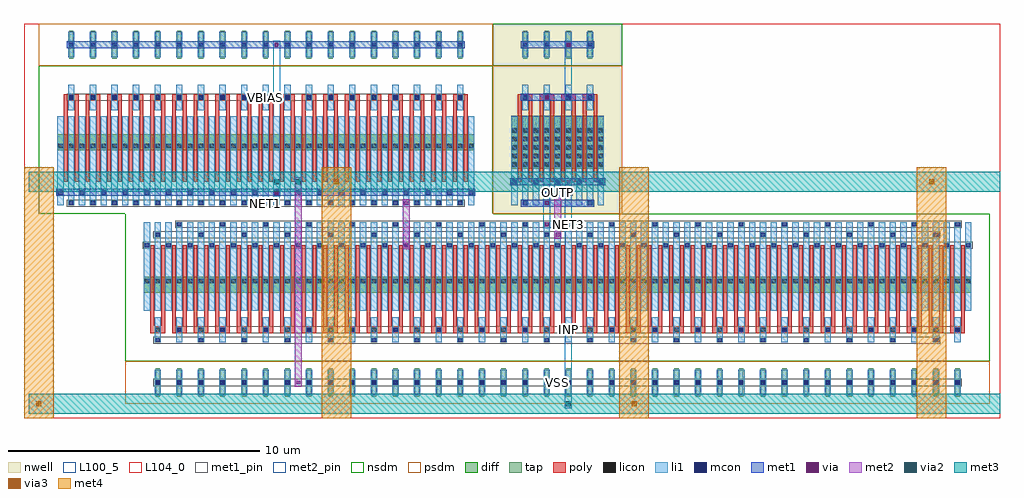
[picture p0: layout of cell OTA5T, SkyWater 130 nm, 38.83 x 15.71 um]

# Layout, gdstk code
import gdstk
lib = gdstk.Library(unit=1e-6, precision=1e-09)
def R(c, l, rs):  # rectangles x0, y0, x1, y1
    for r in rs: c.add(gdstk.rectangle(r[:2], r[2:], *l))
def A(c, l, x, y, w, h, nx, ny, dx, dy):  # array of equal rectangles
    R(c, l, [(x+i*dx, y+j*dy, x+i*dx+w, y+j*dy+h) for i in range(nx) for j in range(ny)])
nwell = (64, 20)
diff = (65, 20)
tap = (65, 44)
poly = (66, 20)
licon = (66, 44)
li1 = (67, 20)
mcon = (67, 44)
met1_pin = (68, 16)
met1 = (68, 20)
via = (68, 44)
met2_pin = (69, 16)
met2 = (69, 20)
via2 = (69, 44)
met3 = (70, 20)
via3 = (70, 44)
met4 = (71, 20)
nsdm = (93, 44)
psdm = (94, 20)
L100_5 = (100, 5)
L104_0 = (104, 0)

ota5t = lib.new_cell('OTA5T')
R(ota5t, nwell, [(18.06,7.56,23.22,15.12)])
R(ota5t, diff, [(4.175,4.41,37.105,5.04), (18.795,9.345,22.485,11.445), (0.735,10.08,17.325,10.71)])
A(ota5t, tap, 4.645, 0.28, 0.17, 1.12, 38, 1, 0.86, 0)
A(ota5t, tap, 1.205, 13.72, 0.17, 1.12, 19, 1, 0.86, 0)
A(ota5t, tap, 19.265, 13.72, 0.17, 1.12, 4, 1, 0.86, 0)
A(ota5t, poly, 4.44, 2.805, 0.58, 0.27, 38, 1, 0.86, 0)
A(ota5t, poly, 4.44, 2.94, 0.15, 3.36, 76, 1, 0.43, 0)
A(ota5t, poly, 1, 8.82, 0.15, 3.36, 38, 1, 0.43, 0)
A(ota5t, poly, 19.06, 8.82, 0.15, 3.36, 8, 1, 0.43, 0)
A(ota5t, poly, 1, 12.045, 0.58, 0.27, 19, 1, 0.86, 0)
A(ota5t, poly, 19.06, 12.045, 0.58, 0.27, 4, 1, 0.86, 0)
A(ota5t, licon, 4.645, 0.755, 0.17, 0.17, 38, 2, 0.86, 2.1)
A(ota5t, licon, 4.215, 4.79, 0.17, 0.17, 3, 2, 0.43, 5.37)
A(ota5t, licon, 5.075, 4.79, 0.17, 0.17, 3, 2, 0.43, 5.37)
A(ota5t, licon, 5.935, 4.79, 0.17, 0.17, 3, 2, 0.43, 5.37)
A(ota5t, licon, 6.795, 4.79, 0.17, 0.17, 3, 2, 0.43, 5.37)
A(ota5t, licon, 7.655, 4.79, 0.17, 0.17, 3, 2, 0.43, 5.37)
A(ota5t, licon, 8.515, 4.79, 0.17, 0.17, 3, 2, 0.43, 5.37)
A(ota5t, licon, 9.375, 4.79, 0.17, 0.17, 3, 2, 0.43, 5.37)
A(ota5t, licon, 10.235, 4.79, 0.17, 0.17, 3, 2, 0.43, 5.37)
A(ota5t, licon, 11.095, 4.79, 0.17, 0.17, 3, 2, 0.43, 5.37)
A(ota5t, licon, 11.955, 4.79, 0.17, 0.17, 3, 2, 0.43, 5.37)
A(ota5t, licon, 12.815, 4.79, 0.17, 0.17, 3, 2, 0.43, 5.37)
A(ota5t, licon, 13.675, 4.79, 0.17, 0.17, 3, 2, 0.43, 5.37)
A(ota5t, licon, 14.535, 4.79, 0.17, 0.17, 3, 2, 0.43, 5.37)
A(ota5t, licon, 15.395, 4.79, 0.17, 0.17, 3, 2, 0.43, 5.37)
A(ota5t, licon, 16.255, 4.79, 0.17, 0.17, 3, 2, 0.43, 5.37)
A(ota5t, licon, 17.115, 4.79, 0.17, 0.17, 3, 1, 0.43, 0)
A(ota5t, licon, 17.975, 4.79, 0.17, 0.17, 3, 1, 0.43, 0)
A(ota5t, licon, 18.835, 4.79, 0.17, 0.17, 3, 2, 0.43, 4.635)
A(ota5t, licon, 19.695, 4.79, 0.17, 0.17, 3, 2, 0.43, 4.635)
A(ota5t, licon, 20.555, 4.79, 0.17, 0.17, 3, 2, 0.43, 4.635)
A(ota5t, licon, 21.415, 4.79, 0.17, 0.17, 3, 2, 0.43, 4.635)
A(ota5t, licon, 22.275, 4.79, 0.17, 0.17, 3, 1, 0.43, 0)
A(ota5t, licon, 23.135, 4.79, 0.17, 0.17, 3, 1, 0.43, 0)
A(ota5t, licon, 23.995, 4.79, 0.17, 0.17, 3, 1, 0.43, 0)
A(ota5t, licon, 24.855, 4.79, 0.17, 0.17, 3, 1, 0.43, 0)
A(ota5t, licon, 25.715, 4.79, 0.17, 0.17, 3, 1, 0.43, 0)
A(ota5t, licon, 26.575, 4.79, 0.17, 0.17, 3, 1, 0.43, 0)
A(ota5t, licon, 27.435, 4.79, 0.17, 0.17, 3, 1, 0.43, 0)
A(ota5t, licon, 28.295, 4.79, 0.17, 0.17, 3, 1, 0.43, 0)
A(ota5t, licon, 29.155, 4.79, 0.17, 0.17, 3, 1, 0.43, 0)
A(ota5t, licon, 30.015, 4.79, 0.17, 0.17, 3, 1, 0.43, 0)
A(ota5t, licon, 30.875, 4.79, 0.17, 0.17, 3, 1, 0.43, 0)
A(ota5t, licon, 31.735, 4.79, 0.17, 0.17, 3, 1, 0.43, 0)
A(ota5t, licon, 32.595, 4.79, 0.17, 0.17, 3, 1, 0.43, 0)
A(ota5t, licon, 33.455, 4.79, 0.17, 0.17, 3, 1, 0.43, 0)
A(ota5t, licon, 34.315, 4.79, 0.17, 0.17, 3, 1, 0.43, 0)
A(ota5t, licon, 35.175, 4.79, 0.17, 0.17, 3, 1, 0.43, 0)
A(ota5t, licon, 36.035, 4.79, 0.17, 0.17, 3, 1, 0.43, 0)
A(ota5t, licon, 18.835, 9.765, 0.17, 0.17, 3, 4, 0.43, 0.34)
A(ota5t, licon, 19.695, 9.765, 0.17, 0.17, 3, 4, 0.43, 0.34)
A(ota5t, licon, 20.555, 9.765, 0.17, 0.17, 3, 4, 0.43, 0.34)
A(ota5t, licon, 21.415, 9.765, 0.17, 0.17, 3, 4, 0.43, 0.34)
A(ota5t, licon, 0.775, 10.16, 0.17, 0.17, 3, 1, 0.43, 0)
A(ota5t, licon, 1.635, 10.16, 0.17, 0.17, 3, 1, 0.43, 0)
A(ota5t, licon, 2.495, 10.16, 0.17, 0.17, 3, 1, 0.43, 0)
A(ota5t, licon, 3.355, 10.16, 0.17, 0.17, 3, 1, 0.43, 0)
A(ota5t, licon, 1.205, 12.095, 0.17, 0.17, 19, 2, 0.86, 2.1)
A(ota5t, licon, 19.265, 12.095, 0.17, 0.17, 4, 2, 0.86, 2.1)
A(ota5t, li1, 4.605, 0.335, 0.25, 1.01, 38, 2, 0.86, 2.1)
A(ota5t, li1, 4.175, 3.695, 0.25, 3.53, 77, 1, 0.43, 0)
A(ota5t, li1, 0.735, 7.895, 0.25, 3.53, 39, 1, 0.43, 0)
A(ota5t, li1, 18.795, 7.895, 0.25, 3.53, 9, 1, 0.43, 0)
A(ota5t, li1, 1.165, 11.675, 0.25, 1.01, 19, 2, 0.86, 2.1)
A(ota5t, li1, 19.225, 11.675, 0.25, 1.01, 4, 2, 0.86, 2.1)
A(ota5t, mcon, 4.645, 0.755, 0.17, 0.17, 38, 1, 0.86, 0)
A(ota5t, mcon, 4.645, 2.435, 0.17, 0.17, 19, 2, 1.72, 4.2)
A(ota5t, mcon, 5.505, 2.855, 0.17, 0.17, 19, 2, 1.72, 4.2)
A(ota5t, mcon, 4.215, 6.215, 0.17, 0.17, 39, 1, 0.86, 0)
A(ota5t, mcon, 1.205, 7.895, 0.17, 0.17, 19, 2, 0.86, 4.2)
A(ota5t, mcon, 0.775, 8.315, 0.17, 0.17, 20, 1, 0.86, 0)
A(ota5t, mcon, 18.835, 8.735, 0.17, 0.17, 5, 1, 0.86, 0)
A(ota5t, mcon, 19.265, 12.095, 0.17, 0.17, 4, 2, 0.86, 2.1)
A(ota5t, mcon, 1.205, 14.195, 0.17, 0.17, 19, 1, 0.86, 0)
R(ota5t, mcon, [(19.265,7.895,19.435,8.065), (21.845,7.895,22.015,8.065), (20.125,8.315,20.295,8.485), (20.985,8.315,21.155,8.485)])
R(ota5t, met1_pin, [(4.56,0.7,36.72,0.98), (4.56,2.38,35.86,2.66), (5.42,2.8,36.72,3.08), (4.13,6.16,37.15,6.44), (4.56,6.58,35.86,6.86), (5.42,7,36.72,7.28), (1.12,7.84,16.94,8.12), (20.04,8.26,21.24,8.54), (1.12,12.04,16.94,12.32)])
R(ota5t, met1, [(19.18,7.84,22.1,8.12), (0.69,8.26,17.37,8.54), (18.75,8.68,22.53,8.96), (19.18,12.04,22.1,12.32), (1.12,14.14,16.94,14.42), (19.18,14.14,22.1,14.42)])
R(ota5t, via, [(10.245,0.765,10.395,0.915), (14.545,6.225,14.695,6.375), (20.565,6.645,20.715,6.795), (20.135,7.065,20.285,7.215), (14.545,7.905,14.695,8.055), (20.135,7.905,20.285,8.055), (9.385,8.325,9.535,8.475), (20.565,8.325,20.715,8.475), (20.995,8.745,21.145,8.895), (20.135,12.105,20.285,12.255), (9.385,14.205,9.535,14.355), (20.995,14.205,21.145,14.355)])
R(ota5t, met2_pin, [(20.93,-0.185,21.21,14.44), (20.07,6.98,20.35,12.34), (9.32,8.24,9.6,14.44)])
R(ota5t, met2, [(10.18,0.68,10.46,9.005), (14.48,6.14,14.76,8.14), (20.5,6.56,20.78,8.56)])
R(ota5t, via2, [(20.97,-0.1,21.17,0.1), (9.36,8.72,9.56,8.92), (10.22,8.72,10.42,8.92)])
R(ota5t, met3, [(-0.4,-0.4,38.24,0.4), (-0.4,8.42,38.24,9.22)])
R(ota5t, via3, [(-0.1,-0.1,0.1,0.1), (23.58,-0.1,23.78,0.1), (11.74,8.72,11.94,8.92), (35.42,8.72,35.62,8.92)])
A(ota5t, met4, -0.59, -0.59, 1.18, 10, 4, 1, 11.84, 0)
R(ota5t, nsdm, [(3.44,1.68,37.84,7.56), (0,7.56,18.06,13.44), (18.06,13.44,23.22,15.12)])
R(ota5t, psdm, [(3.44,0,37.84,1.68), (18.06,7.56,23.22,13.44), (0,13.44,18.06,15.12)])
R(ota5t, L100_5, [(-0.59,-0.59,38.24,15.12)])
R(ota5t, L104_0, [(-0.59,-0.59,38.24,15.12)])
ota5t.add(gdstk.Label('VBIAS', (9.03,12.18), layer=68, texttype=5))
ota5t.add(gdstk.Label('NET1', (9.03,7.98), layer=68, texttype=5))
ota5t.add(gdstk.Label('OUTP', (20.64,8.4), layer=68, texttype=5))
ota5t.add(gdstk.Label('NET3', (21.07,7.14), layer=68, texttype=5))
ota5t.add(gdstk.Label('INP', (21.07,2.94), layer=68, texttype=5))
ota5t.add(gdstk.Label('INN', (20.21,2.52), layer=68, texttype=5))
ota5t.add(gdstk.Label('VSS', (20.64,0.84), layer=68, texttype=5))
ota5t.add(gdstk.Label('VDD', (21.07,7.127), layer=69, texttype=5))

lib.write_gds('OTA5T.gds')
